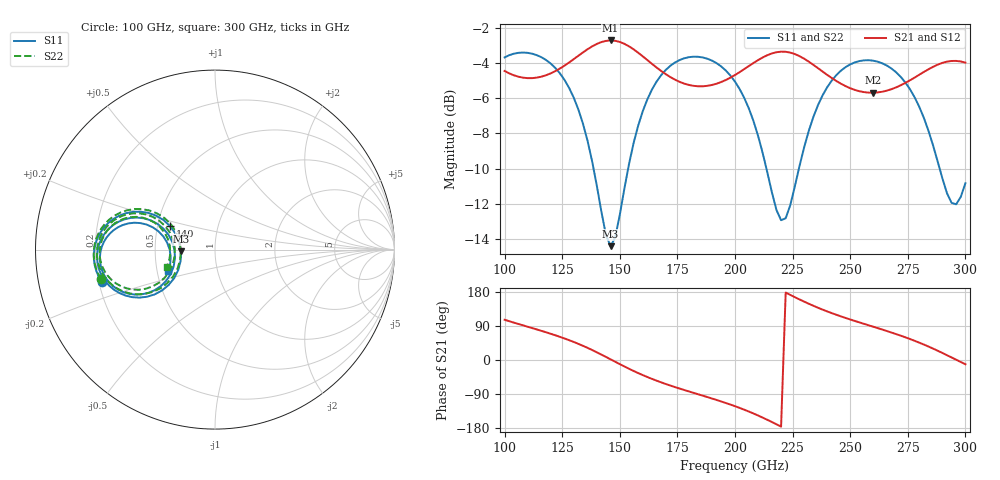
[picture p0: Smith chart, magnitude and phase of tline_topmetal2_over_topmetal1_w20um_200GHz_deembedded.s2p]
! Created with skrf 2.0.1 (http://scikit-rf.org).
# GHz S DB R 50.0
!freq dBS11 angS11 dBS21 angS21 dBS12 angS12 dBS22 angS22
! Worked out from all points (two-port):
!   101 points, 100 GHz to 300 GHz, reference 50 ohm
!   highest |S21| = -2.70 dB at 146 GHz (marker M1); lowest = -5.7 dB at 260 GHz (marker M2)
!   |S21| within 3 dB of the highest: start of sweep to end of sweep
!   lowest |S11| = -14.4 dB at 146 GHz (marker M3), VSWR 1.47, Z = 34 - j0.672 ohm
!   |S11| at or under -10 dB: 138.6 GHz to 153.6 GHz (15.02 GHz wide, 10.3 % of centre); 213.6 GHz to 227.7 GHz (14.11 GHz wide, 6.39 % of centre); 288.8 GHz to end of sweep
!   |S22| runs from -14.4 to -3.4 dB; largest |S21 - S12| = 6.2e-14
!   S11 on the Smith chart (normalised r, x): 100 GHz: 0.21, -0.13; 140 GHz: 0.58, +0.17; 300 GHz: 0.57, -0.15
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100  -3.67 -164.0  -4.44 106.2  -4.44 106.2  -3.67 -165.5
116  -3.66 174.0  -4.76 76.9  -4.76 76.9  -3.66 172.2
126  -4.95 160.5  -4.13 56.8  -4.13 56.8  -4.95 158.5
134  -7.44 151.2  -3.38 37.4  -3.38 37.4  -7.44 149.1
140  -10.96 152.3  -2.90 20.4  -2.90 20.4  -10.96 150.1
146  -14.42 -177.1  -2.70 1.7  -2.70 1.7  -14.43 -179.3
148  -13.92 -162.0  -2.72 -4.6  -2.72 -4.6  -13.93 -164.2
156  -8.54 -142.4  -3.21 -29.0  -3.21 -29.0  -8.55 -144.7
168  -4.67 -155.5  -4.44 -59.1  -4.44 -59.1  -4.67 -158.0
184  -3.63 -176.4  -5.31 -90.4  -5.31 -90.4  -3.64 -179.1
200  -5.05 163.9  -4.67 -121.9  -4.67 -121.9  -5.05 160.8
210  -8.13 155.5  -3.82 -146.5  -3.82 -146.5  -8.14 152.3
220  -12.94 -179.2  -3.34 -175.9  -3.34 -175.9  -12.97 177.4
226  -11.00 -151.1  -3.48 165.8  -3.48 165.8  -11.02 -154.5
234  -7.06 -147.0  -4.09 143.1  -4.09 143.1  -7.07 -150.5
248  -4.22 -162.5  -5.30 111.0  -5.30 111.0  -4.23 -166.2
260  -3.85 -176.9  -5.68 87.8  -5.68 87.8  -3.86 179.2
268  -4.31 173.8  -5.47 72.3  -5.47 72.3  -4.31 169.8
276  -5.49 165.0  -4.97 55.2  -4.97 55.2  -5.50 160.9
284  -7.86 159.9  -4.34 35.4  -4.34 35.4  -7.86 155.6
294  -11.95 179.9  -3.87 6.7  -3.87 6.7  -11.96 175.5
300  -10.83 -155.3  -3.96 -11.3  -3.96 -11.3  -10.84 -159.8
